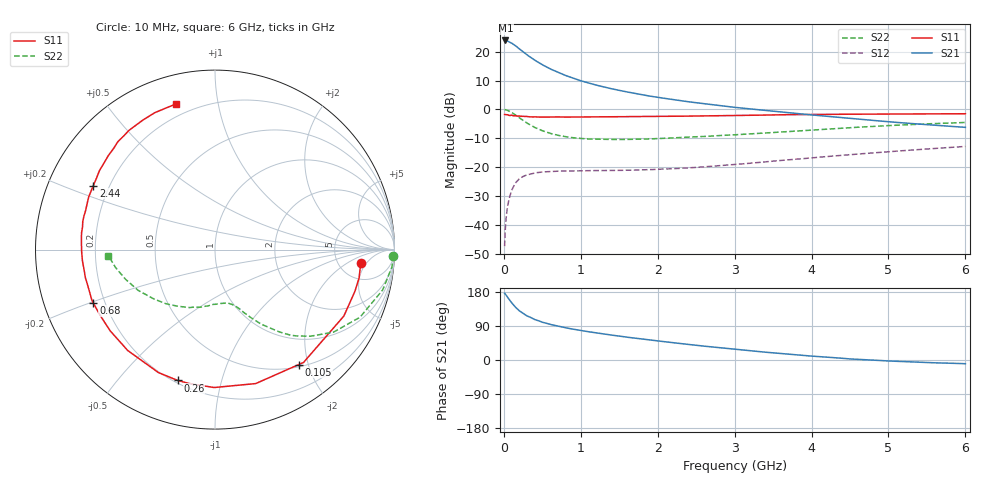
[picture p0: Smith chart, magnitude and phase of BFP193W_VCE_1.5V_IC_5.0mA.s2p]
! (c) 2016  Infineon Technologies AG, Munich
! Infineon Technologies  Discrete & RF Semiconductors
! BFP193W
! VCE = 1.5 V,  IC =  5.0 mA
! Common Emitter S-Parameters:  Jan 2016
# GHz  S  MA  R  50
!  f  S11  S21  S12  S22
! GHz  MAG  ANG  MAG  ANG  MAG  ANG  MAG  ANG
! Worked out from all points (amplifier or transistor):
!   210 points, 10 MHz to 6 GHz, reference 50 ohm
!   highest |S21| = 23.9 dB at 20 MHz (marker M1)
!   |S21| within 3 dB of that: start of sweep to 205.4 MHz
!   unconditionally stable (mu >= 1): 1.641 GHz to 4.859 GHz
!   at 185 MHz: K = 0.14, MSG = 22.9 dB, |S12| = -24.5 dB
!   at 1.52 GHz: K = 0.94, MSG = 13.8 dB, |S12| = -21.1 dB
!   at 6 GHz: K = 0.96, MSG = 3.3 dB, |S12| = -12.8 dB
!   S11 on the Smith chart (normalised r, x): 10 MHz: 8.11, -3.72; 105 MHz: 0.54, -1.84; 260 MHz: 0.21, -0.73; 680 MHz: 0.16, -0.20; 2.44 GHz: 0.14, +0.24; 6 GHz: 0.14, +0.76
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0.01  0.8155 -5.4  15.54 176.2  0.0043 87.1  0.994 -1.9
0.02  0.8182 -11.1  15.6 173.9  0.0089 82.4  0.9906 -5.6
0.05  0.8078 -27.3  15.23 164.9  0.0216 76.0  0.961 -13.5
0.1  0.7991 -51.9  14.1 151.3  0.0392 64.1  0.8915 -25.0
0.105  0.7924 -53.9  13.93 150.2  0.0405 62.8  0.8817 -25.9
0.15  0.7801 -73.1  12.69 139.4  0.0533 54.0  0.8043 -34.9
0.2  0.7685 -90.4  11.19 130.0  0.0626 46.5  0.7186 -42.2
0.26  0.7581 -105.9  9.695 121.5  0.0701 39.7  0.6323 -48.8
0.3  0.7542 -114.7  8.788 116.4  0.0736 36.1  0.5801 -52.1
0.4  0.7433 -130.9  7.108 106.9  0.0796 29.5  0.4887 -58.2
0.5  0.7389 -142.3  5.915 99.7  0.0826 25.9  0.4281 -62.2
0.6  0.7377 -150.9  5.035 94.0  0.084 23.2  0.3854 -65.4
0.68  0.7401 -156.3  4.527 90.3  0.085 22.1  0.3622 -67.1
0.8  0.7362 -163.1  3.873 85.1  0.0857 20.9  0.3374 -69.9
1.02  0.7384 -172.2  3.078 77.3  0.0869 19.9  0.3128 -74.7
1.4  0.7465 175.8  2.277 65.7  0.0879 21.1  0.3024 -82.7
2.02  0.7563 160.8  1.604 49.9  0.0922 27.2  0.3143 -96.1
2.44  0.7659 152.3  1.335 40.2  0.098 31.7  0.3335 -105.6
3.1  0.788 140.3  1.054 26.6  0.114 37.4  0.3699 -120.8
4.1  0.8197 124.5  0.781 9.0  0.149 40.2  0.4463 -143.6
5.1  0.8331 112.9  0.597 -3.4  0.1894 37.9  0.5315 -163.3
6  0.8408 104.8  0.489 -9.8  0.2286 34.0  0.5947 -176.6
